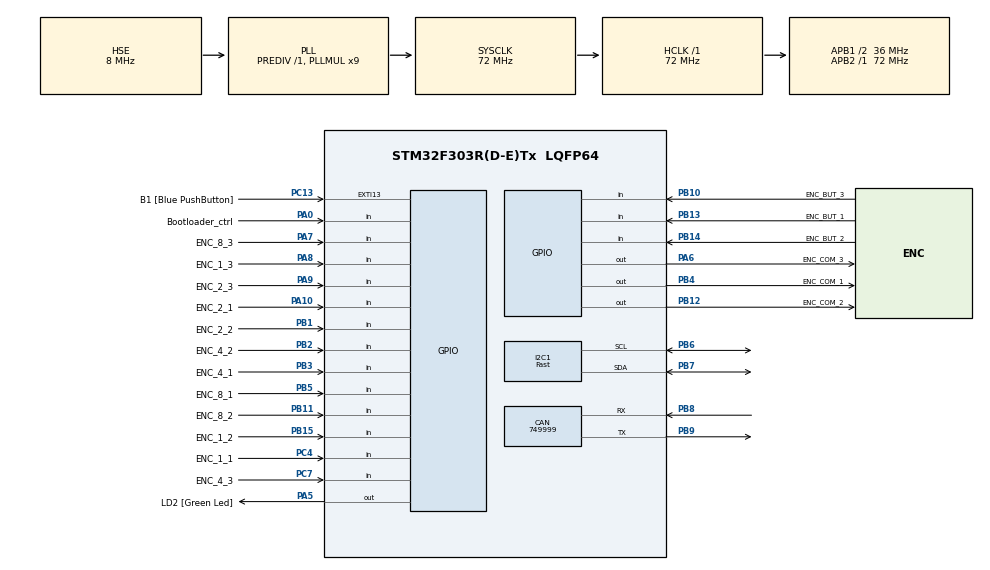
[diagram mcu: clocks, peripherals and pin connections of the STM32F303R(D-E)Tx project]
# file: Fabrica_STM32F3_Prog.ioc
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CAN.BS1=CAN_BS1_1TQ
CAN.BS2=CAN_BS2_1TQ
CAN.CalculateBaudRate=749999
CAN.CalculateTimeBit=1333
CAN.CalculateTimeQuantum=444.44444444444446
I2C1.I2C_Speed_Mode=I2C_Fast
I2C1.OwnAddress=0x49
I2C1.Timing=0x0010020A
Mcu.Family=STM32F3
Mcu.Name=STM32F303R(D-E)Tx
Mcu.Package=LQFP64
NVIC.I2C1_ER_IRQn=true\:0\:0\:false\:false\:true\:true\:true\:true
NVIC.I2C1_EV_IRQn=true\:0\:0\:false\:false\:true\:true\:true\:true
NVIC.PriorityGroup=NVIC_PRIORITYGROUP_0
NVIC.USB_LP_CAN_RX0_IRQn=true\:0\:0\:false\:false\:true\:true\:true\:true
PA0.GPIO_Label=Bootloader_ctrl
PA0.GPIO_PuPd=GPIO_PULLUP
PA0.Signal=GPIO_Input
PA10.GPIO_Label=ENC_2_1
PA10.GPIO_PuPd=GPIO_PULLDOWN
PA10.Signal=GPIO_Input
PA13.Signal=SYS_JTMS-SWDIO
PA14.Signal=SYS_JTCK-SWCLK
PA5.GPIO_Label=LD2 [Green Led]
PA5.GPIO_Mode=GPIO_MODE_OUTPUT_PP
PA5.GPIO_PuPd=GPIO_NOPULL
PA5.GPIO_Speed=GPIO_SPEED_FREQ_LOW
PA5.Signal=GPIO_Output
PA6.GPIO_Label=ENC_COM_3
PA6.Signal=GPIO_Output
PA7.GPIO_Label=ENC_8_3
PA7.GPIO_PuPd=GPIO_PULLDOWN
PA7.Signal=GPIO_Input
PA8.GPIO_Label=ENC_1_3
PA8.GPIO_PuPd=GPIO_PULLDOWN
PA8.Signal=GPIO_Input
PA9.GPIO_Label=ENC_2_3
PA9.GPIO_PuPd=GPIO_PULLDOWN
PA9.Signal=GPIO_Input
PB1.GPIO_Label=ENC_2_2
PB1.GPIO_PuPd=GPIO_PULLDOWN
PB1.Signal=GPIO_Input
PB10.GPIO_Label=ENC_BUT_3
PB10.GPIO_PuPd=GPIO_PULLUP
PB10.Signal=GPIO_Input
PB11.GPIO_Label=ENC_8_2
PB11.GPIO_PuPd=GPIO_PULLDOWN
PB11.Signal=GPIO_Input
PB12.GPIO_Label=ENC_COM_2
PB12.Signal=GPIO_Output
PB13.GPIO_Label=ENC_BUT_1
PB13.GPIO_PuPd=GPIO_PULLUP
PB13.Signal=GPIO_Input
PB14.GPIO_Label=ENC_BUT_2
PB14.GPIO_PuPd=GPIO_PULLUP
PB14.Signal=GPIO_Input
PB15.GPIO_Label=ENC_1_2
PB15.GPIO_PuPd=GPIO_PULLDOWN
PB15.Signal=GPIO_Input
PB2.GPIO_Label=ENC_4_2
PB2.GPIO_PuPd=GPIO_PULLDOWN
PB2.Signal=GPIO_Input
PB3.GPIO_Label=ENC_4_1
PB3.GPIO_PuPd=GPIO_PULLDOWN
PB3.Signal=GPIO_Input
PB4.GPIO_Label=ENC_COM_1
PB4.Signal=GPIO_Output
PB5.GPIO_Label=ENC_8_1
PB5.GPIO_PuPd=GPIO_PULLDOWN
PB5.Signal=GPIO_Input
PB6.GPIO_Pu=GPIO_PULLUP
PB6.Mode=I2C
PB6.Signal=I2C1_SCL
PB7.GPIO_Pu=GPIO_PULLUP
PB7.Mode=I2C
PB7.Signal=I2C1_SDA
PB8.Mode=CAN_Activate
PB8.Signal=CAN_RX
PB9.GPIO_PuPd=GPIO_PULLUP
PB9.Mode=CAN_Activate
PB9.Signal=CAN_TX
PC13.GPIO_Label=B1 [Blue PushButton]
PC13.GPIO_ModeDefaultEXTI=GPIO_MODE_IT_FALLING
PC13.Signal=GPXTI13
PC14-OSC32_IN.Mode=LSE-External-Oscillator
PC14-OSC32_IN.Signal=RCC_OSC32_IN
PC15-OSC32_OUT.Mode=LSE-External-Oscillator
PC15-OSC32_OUT.Signal=RCC_OSC32_OUT
PC4.GPIO_Label=ENC_1_1
PC4.GPIO_PuPd=GPIO_PULLDOWN
PC4.Signal=GPIO_Input
PC7.GPIO_Label=ENC_4_3
PC7.GPIO_PuPd=GPIO_PULLDOWN
PC7.Signal=GPIO_Input
PF0-OSC_IN.Mode=HSE-External-Oscillator
PF0-OSC_IN.Signal=RCC_OSC_IN
PF1-OSC_OUT.Mode=HSE-External-Oscillator
PF1-OSC_OUT.Signal=RCC_OSC_OUT
ProjectManager.HeapSize=0x200
ProjectManager.StackSize=0x400
ProjectManager.TargetToolchain=Makefile
RCC.AHBFreq_Value=72000000
RCC.APB1CLKDivider=RCC_HCLK_DIV2
RCC.APB1Freq_Value=36000000
RCC.APB1TimFreq_Value=72000000
RCC.APB2Freq_Value=72000000
RCC.APB2TimFreq_Value=72000000
RCC.CortexFreq_Value=72000000
RCC.EnbaleCSS=true
RCC.HCLKFreq_Value=72000000
RCC.HSE_VALUE=8000000
RCC.HSI_VALUE=8000000
RCC.PLLM=8
RCC.PLLMUL=RCC_PLL_MUL9
RCC.PLLN=336
RCC.PLLP=RCC_PLLP_DIV4
RCC.PLLQ=7
RCC.PLLSourceVirtual=RCC_PLLSOURCE_HSE
RCC.RCC_PLLsource_Clock_Source_FROM_HSE=RCC_HSE_PREDIV_DIV2
RCC.SYSCLKFreq_VALUE=72000000
RCC.SYSCLKSourceVirtual=RCC_SYSCLKSOURCE_PLLCLK
RCC.USBFreq_Value=72000000
board=NUCLEO-F303RE

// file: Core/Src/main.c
/* USER CODE BEGIN Header */
/**
 ******************************************************************************
 * @file           : main.c
 * @brief          : Main program body
 ******************************************************************************
 * @attention
 *
 * Copyright (c) 2025 STMicroelectronics.
 * All rights reserved.
 *
 * This software is licensed under terms that can be found in the LICENSE file
 * in the root directory of this software component.
 * If no LICENSE file comes with this software, it is provided AS-IS.
 *
 ******************************************************************************
 */
/* USER CODE END Header */
#include "main.h"

/* USER CODE BEGIN Includes */
#include "8421_ENC.h"
// #include "I2C_Slave.h"
#include "App/header.h"
#include "can_operation.h"
#include "state_flow.h"
/* USER CODE END Includes */

CAN_HandleTypeDef hcan;

I2C_HandleTypeDef hi2c1;

/* USER CODE BEGIN PV */
extern CAN_HandleTypeDef canHandle;
/* USER CODE END PV */

void SystemClock_Config(void);
static void MX_GPIO_Init(void);
static void MX_CAN_Init(void);
static void MX_I2C1_Init(void);
/* USER CODE BEGIN PFP */
static void VectorBase_Config(void) {
  /* The constant array with vectors of the vector table is declared externally
   * in the c-startup code.
   */
  extern const unsigned long g_pfnVectors[];

  /* Remap the vector table to where the vector table is located for this
   * program. */
  SCB->VTOR = (unsigned long)&g_pfnVectors[0];
}
/* USER CODE END PFP */

/* USER CODE BEGIN 0 */
// uint8_t pos1 =0;
// uint8_t but1 =0;
// uint8_t pos2 =0;
// uint8_t but2 =0;
// uint8_t pos3 =0;
// uint8_t but3 =0;
// uint8_t com_1=0;
// uint8_t com_2=0;
// uint8_t com_3=0;
/* USER CODE END 0 */

int main(void) {

  /* USER CODE BEGIN 1 */
  VectorBase_Config();
  /* USER CODE END 1 */

  /* MCU Configuration--------------------------------------------------------*/

  /* Reset of all peripherals, Initializes the Flash interface and the Systick.
   */
  HAL_Init();

  /* Configure the system clock */
  SystemClock_Config();

  /* Initialize all configured peripherals */
  MX_GPIO_Init();
  MX_CAN_Init();
  MX_I2C1_Init();
  /* USER CODE BEGIN 2 */
  AppInit();

  //  HAL_CAN_Start(&hcan);

  //  TxHeader.StdId =0x010;
  //  TxHeader.IDE= CAN_ID_STD;
  //  TxHeader.RTR=CAN_RTR_DATA;
  //  TxHeader.DLC=8;
  //  TxHeader.TransmitGlobalTime=DISABLE;
  CANInitTxHeader();
  // uint8_t CAN_Txdata[8] = {0x00, 0x01, 0x02, 0x03, 0x04, 0x05, 0x07, 0x01};
  //  int TimerCount =0;

  if (HAL_I2C_EnableListen_IT(&hi2c1) != HAL_OK) {
    Error_Handler();
  }

  /* USER CODE END 2 */

  /* Infinite loop */
  /* USER CODE BEGIN WHILE */
  while (1) {
    AppTask();
    Operation_run();
    //	  if(TimerCount>=100000){
    //	  CAN_Txdata[7] += 1;
    //	  if(CAN_Txdata[7]>=255)
    //		  CAN_Txdata[7] = 0;
    //
    //
    //	  TimerCount = 0;
    //	  pos1 = readEncoderPos(&ENC1);
    //	  but1 = readEncoderbutton(&ENC1);
    //	  pos2 = readEncoderPos(&ENC2);
    //	  but2 = readEncoderbutton(&ENC2);
    //	  pos3 = readEncoderPos(&ENC3);
    //	  but3 = readEncoderbutton(&ENC3);
    //	  com_1 = readEncoderCom(encoders[0]);
    //	  com_2 = readEncoderCom(encoders[1]);
    //	  com_3 = readEncoderCom(encoders[2]);
    //	  CAN_Txdata[0] = pos1;
    //	  CAN_Txdata[1] = but1;
    //	  CAN_Txdata[2] = pos2;
    //	  CAN_Txdata[3] = but2;
    //	  CAN_Txdata[4] = pos3;
    //	  CAN_Txdata[5] = but3;
    //	  CAN_Txdata[6] = (com_3<<2)|(com_2<<1)|com_1;
    //	  CAN_Send(0x100, 8, CAN_Txdata);
    //
    //
    //	  }
    //	  else{
    //		  TimerCount ++;
    //	  }

    /* USER CODE END WHILE */

  }
}

void SystemClock_Config(void) {
  RCC_OscInitTypeDef RCC_OscInitStruct = {0};
  RCC_ClkInitTypeDef RCC_ClkInitStruct = {0};
  RCC_PeriphCLKInitTypeDef PeriphClkInit = {0};

  /** Initializes the RCC Oscillators according to the specified parameters
   * in the RCC_OscInitTypeDef structure.
   */
  RCC_OscInitStruct.OscillatorType =
      RCC_OSCILLATORTYPE_HSI | RCC_OSCILLATORTYPE_HSE;
  RCC_OscInitStruct.HSEState = RCC_HSE_ON;
  RCC_OscInitStruct.HSIState = RCC_HSI_ON;
  RCC_OscInitStruct.HSICalibrationValue = RCC_HSICALIBRATION_DEFAULT;
  RCC_OscInitStruct.PLL.PLLState = RCC_PLL_ON;
  RCC_OscInitStruct.PLL.PLLSource = RCC_PLLSOURCE_HSE;
  RCC_OscInitStruct.PLL.PLLMUL = RCC_PLL_MUL9;
  RCC_OscInitStruct.PLL.PREDIV = RCC_PREDIV_DIV1;
  if (HAL_RCC_OscConfig(&RCC_OscInitStruct) != HAL_OK) {
    Error_Handler();
  }

  /** Initializes the CPU, AHB and APB buses clocks
   */
  RCC_ClkInitStruct.ClockType = RCC_CLOCKTYPE_HCLK | RCC_CLOCKTYPE_SYSCLK |
                                RCC_CLOCKTYPE_PCLK1 | RCC_CLOCKTYPE_PCLK2;
  RCC_ClkInitStruct.SYSCLKSource = RCC_SYSCLKSOURCE_PLLCLK;
  RCC_ClkInitStruct.AHBCLKDivider = RCC_SYSCLK_DIV1;
  RCC_ClkInitStruct.APB1CLKDivider = RCC_HCLK_DIV2;
  RCC_ClkInitStruct.APB2CLKDivider = RCC_HCLK_DIV1;

  if (HAL_RCC_ClockConfig(&RCC_ClkInitStruct, FLASH_LATENCY_2) != HAL_OK) {
    Error_Handler();
  }
  PeriphClkInit.PeriphClockSelection = RCC_PERIPHCLK_I2C1;
  PeriphClkInit.I2c1ClockSelection = RCC_I2C1CLKSOURCE_HSI;
  if (HAL_RCCEx_PeriphCLKConfig(&PeriphClkInit) != HAL_OK) {
    Error_Handler();
  }

  /** Enables the Clock Security System
   */
  HAL_RCC_EnableCSS();
}

static void MX_CAN_Init(void) {

  hcan.Instance = CAN;
  hcan.Init.Prescaler = 16;
  hcan.Init.Mode = CAN_MODE_NORMAL;
  hcan.Init.SyncJumpWidth = CAN_SJW_1TQ;
  hcan.Init.TimeSeg1 = CAN_BS1_1TQ;
  hcan.Init.TimeSeg2 = CAN_BS2_1TQ;
  hcan.Init.TimeTriggeredMode = DISABLE;
  hcan.Init.AutoBusOff = DISABLE;
  hcan.Init.AutoWakeUp = DISABLE;
  hcan.Init.AutoRetransmission = DISABLE;
  hcan.Init.ReceiveFifoLocked = DISABLE;
  hcan.Init.TransmitFifoPriority = DISABLE;
  if (HAL_CAN_Init(&hcan) != HAL_OK) {
    Error_Handler();
  }
}

static void MX_I2C1_Init(void) {

  hi2c1.Instance = I2C1;
  hi2c1.Init.Timing = 0x0010020A;
  hi2c1.Init.OwnAddress1 = 0x49 << 1;
  hi2c1.Init.AddressingMode = I2C_ADDRESSINGMODE_7BIT;
  hi2c1.Init.DualAddressMode = I2C_DUALADDRESS_DISABLE;
  hi2c1.Init.OwnAddress2 = 0;
  hi2c1.Init.OwnAddress2Masks = I2C_OA2_NOMASK;
  hi2c1.Init.GeneralCallMode = I2C_GENERALCALL_DISABLE;
  hi2c1.Init.NoStretchMode = I2C_NOSTRETCH_DISABLE;
  if (HAL_I2C_Init(&hi2c1) != HAL_OK) {
    Error_Handler();
  }

  /** Configure Analogue filter
   */
  if (HAL_I2CEx_ConfigAnalogFilter(&hi2c1, I2C_ANALOGFILTER_ENABLE) != HAL_OK) {
    Error_Handler();
  }

  /** Configure Digital filter
   */
  if (HAL_I2CEx_ConfigDigitalFilter(&hi2c1, 0) != HAL_OK) {
    Error_Handler();
  }
}

static void MX_GPIO_Init(void) {
  GPIO_InitTypeDef GPIO_InitStruct = {0};

  /* GPIO Ports Clock Enable */
  __HAL_RCC_GPIOC_CLK_ENABLE();
  __HAL_RCC_GPIOF_CLK_ENABLE();
  __HAL_RCC_GPIOA_CLK_ENABLE();
  __HAL_RCC_GPIOB_CLK_ENABLE();

  /*Configure GPIO pin Output Level */
  HAL_GPIO_WritePin(GPIOA, LD2_Pin | ENC_COM_3_Pin, GPIO_PIN_RESET);

  /*Configure GPIO pin Output Level */
  HAL_GPIO_WritePin(GPIOB, ENC_COM_2_Pin | ENC_COM_1_Pin, GPIO_PIN_RESET);

  /*Configure GPIO pin : B1_Pin */
  GPIO_InitStruct.Pin = B1_Pin;
  GPIO_InitStruct.Mode = GPIO_MODE_IT_FALLING;
  GPIO_InitStruct.Pull = GPIO_NOPULL;
  HAL_GPIO_Init(B1_GPIO_Port, &GPIO_InitStruct);

  /*Configure GPIO pin : Bootloader_ctrl_Pin */
  GPIO_InitStruct.Pin = Bootloader_ctrl_Pin;
  GPIO_InitStruct.Mode = GPIO_MODE_INPUT;
  GPIO_InitStruct.Pull = GPIO_PULLUP;
  HAL_GPIO_Init(Bootloader_ctrl_GPIO_Port, &GPIO_InitStruct);

  /*Configure GPIO pins : LD2_Pin ENC_COM_3_Pin */
  GPIO_InitStruct.Pin = LD2_Pin | ENC_COM_3_Pin;
  GPIO_InitStruct.Mode = GPIO_MODE_OUTPUT_PP;
  GPIO_InitStruct.Pull = GPIO_NOPULL;
  GPIO_InitStruct.Speed = GPIO_SPEED_FREQ_LOW;
  HAL_GPIO_Init(GPIOA, &GPIO_InitStruct);

  /*Configure GPIO pins : ENC_8_3_Pin ENC_1_3_Pin ENC_2_3_Pin ENC_2_1_Pin */
  GPIO_InitStruct.Pin = ENC_8_3_Pin | ENC_1_3_Pin | ENC_2_3_Pin | ENC_2_1_Pin;
  GPIO_InitStruct.Mode = GPIO_MODE_INPUT;
  GPIO_InitStruct.Pull = GPIO_PULLDOWN;
  HAL_GPIO_Init(GPIOA, &GPIO_InitStruct);

  /*Configure GPIO pins : ENC_1_1_Pin ENC_4_3_Pin */
  GPIO_InitStruct.Pin = ENC_1_1_Pin | ENC_4_3_Pin;
  GPIO_InitStruct.Mode = GPIO_MODE_INPUT;
  GPIO_InitStruct.Pull = GPIO_PULLDOWN;
  HAL_GPIO_Init(GPIOC, &GPIO_InitStruct);

  /*Configure GPIO pins : ENC_2_2_Pin ENC_4_2_Pin ENC_8_2_Pin ENC_1_2_Pin
                           ENC_4_1_Pin ENC_8_1_Pin */
  GPIO_InitStruct.Pin = ENC_2_2_Pin | ENC_4_2_Pin | ENC_8_2_Pin | ENC_1_2_Pin |
                        ENC_4_1_Pin | ENC_8_1_Pin;
  GPIO_InitStruct.Mode = GPIO_MODE_INPUT;
  GPIO_InitStruct.Pull = GPIO_PULLDOWN;
  HAL_GPIO_Init(GPIOB, &GPIO_InitStruct);

  /*Configure GPIO pins : ENC_BUT_3_Pin ENC_BUT_1_Pin ENC_BUT_2_Pin */
  GPIO_InitStruct.Pin = ENC_BUT_3_Pin | ENC_BUT_1_Pin | ENC_BUT_2_Pin;
  GPIO_InitStruct.Mode = GPIO_MODE_INPUT;
  GPIO_InitStruct.Pull = GPIO_PULLUP;
  HAL_GPIO_Init(GPIOB, &GPIO_InitStruct);

  /*Configure GPIO pins : ENC_COM_2_Pin ENC_COM_1_Pin */
  GPIO_InitStruct.Pin = ENC_COM_2_Pin | ENC_COM_1_Pin;
  GPIO_InitStruct.Mode = GPIO_MODE_OUTPUT_PP;
  GPIO_InitStruct.Pull = GPIO_NOPULL;
  GPIO_InitStruct.Speed = GPIO_SPEED_FREQ_LOW;
  HAL_GPIO_Init(GPIOB, &GPIO_InitStruct);

}

void Error_Handler(void) {
  __disable_irq();
  while (1) {
  }
}
#ifdef USE_FULL_ASSERT
/**
 * @brief  Reports the name of the source file and the source line number
 *         where the assert_param error has occurred.
 * @param  file: pointer to the source file name
 * @param  line: assert_param error line source number
 * @retval None
 */
void assert_failed(uint8_t *file, uint32_t line) {
  /* USER CODE BEGIN 6 */
  /* User can add his own implementation to report the file name and line
     number, ex: printf("Wrong parameters value: file %s on line %d\r\n", file,
     line) */
  /* USER CODE END 6 */
}
#endif /* USE_FULL_ASSERT */
